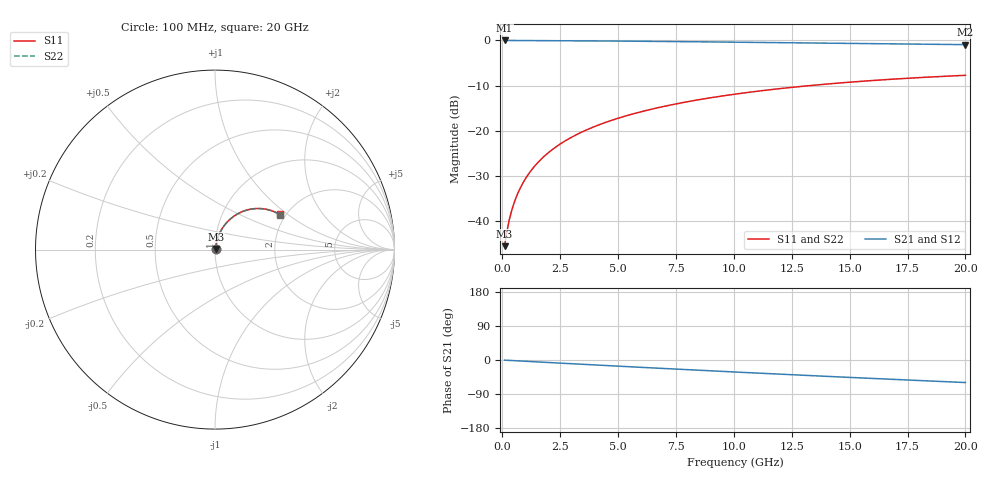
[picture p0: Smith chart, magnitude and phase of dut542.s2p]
! Touchstone file exported from HFSS 2026.1.0
!  File:  C:/ffzhzh/LocalFiles/Ansys_Project_Files/temp_train_BSMRDL_542_1783014953_46388.aedt
!  Generated:  01:57:26 AM Jul  3, 2026
!  Design:  BSMRDL
!  Project:  temp_train_BSMRDL_542_1783014953_46388
! Variables:
!  h_bsmrdl = 4.74um
!  h_ox = 20um
!  h_rdl = 5um
!  h_sub = 80um
!  h_tmrdl = 5um
!  h_tsv = 80um
!  h_via = 3um
!  l_bsmrdl = 989.75um
!  l_sub = 1389.75um
!  l_tmrdl = 200um
!  m_sub = 200um
!  pitch = 36.3um
!  r_tsv = 6um
!  s_tmrdl = 10um
!  w_bsmrdl = 18.11um
!  w_sub = 500um
!  w_tmrdl = 12um
!  x_tsv_center1 = 206um
!  x_tsv_center2 = 1213.86um
!  x_tsv_center3 = 1425.86um
!  x_tsv_center4 = 2433.72um
!  x_tsv_center5 = 2645.72um
!  x_tsv_center6 = 3653.58um
# GHz S MA R 50.000000
! Terminal data exported
! Port[1] = BSM_RDL1_1_T1
! Port[2] = BSM_RDL1_1_T2
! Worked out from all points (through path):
!   200 points, 100 MHz to 20 GHz, reference 50 ohm
!   highest |S21| = -0.04 dB at 100 MHz (marker M1); lowest = -1.0 dB at 20 GHz (marker M2)
!   group delay of S21, straight-line fit = 8.25 ps
!   lowest |S11| = -45.5 dB at 100 MHz (marker M3), VSWR 1.01, Z = 50.4 + j0.323 ohm
!   |S11| at or under -10 dB: start of sweep to 13.3 GHz
!   |S22| runs from -45.5 to -7.7 dB; largest |S21 - S12| = 3.6e-15
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0.1  0.005313 37.1  0.9958 -0.4  0.9958 -0.4  0.005313 37.1
! Gamma 0 0 0 0
! Port Impedance 50 0 50 0
0.2  0.007717 53.9  0.9955 -0.7  0.9955 -0.7  0.007717 53.9
0.3  0.01034 62.0  0.9953 -1.0  0.9953 -1.0  0.01034 62.0
0.4  0.01302 66.7  0.9951 -1.4  0.9951 -1.4  0.01302 66.7
0.5  0.01572 69.7  0.9949 -1.7  0.9949 -1.7  0.01572 69.7
0.6  0.01846 71.9  0.9947 -2.0  0.9947 -2.0  0.01846 71.9
0.8  0.02399 74.6  0.9945 -2.7  0.9945 -2.7  0.02399 74.6
1.1  0.03237 76.6  0.994 -3.7  0.994 -3.7  0.03237 76.6
1.3  0.03799 77.1  0.9936 -4.3  0.9936 -4.3  0.03799 77.1
1.6  0.04641 77.4  0.993 -5.3  0.993 -5.3  0.04641 77.4
2.1  0.06038 77.0  0.9918 -6.9  0.9918 -6.9  0.06038 77.0
2.7  0.07694 75.8  0.99 -8.9  0.99 -8.9  0.07694 75.8
3.5  0.09858 73.9  0.9871 -11.5  0.9871 -11.5  0.09859 73.8
4.2  0.1171 71.9  0.9842 -13.7  0.9842 -13.7  0.1171 71.9
5  0.1376 69.7  0.9806 -16.3  0.9806 -16.3  0.1376 69.6
5.9  0.1601 67.1  0.9763 -19.1  0.9763 -19.1  0.1601 67.0
6.8  0.1818 64.5  0.9716 -21.9  0.9716 -21.9  0.1818 64.4
8.3  0.2164 60.2  0.9633 -26.5  0.9633 -26.5  0.2164 60.1
10.1  0.2551 55.1  0.9528 -31.8  0.9528 -31.8  0.2552 55.0
13.4  0.3179 45.9  0.9326 -41.4  0.9326 -41.4  0.318 45.8
16.7  0.3697 37.0  0.9129 -50.6  0.9129 -50.6  0.3697 36.9
20  0.4102 28.5  0.8953 -59.5  0.8953 -59.5  0.4103 28.3
